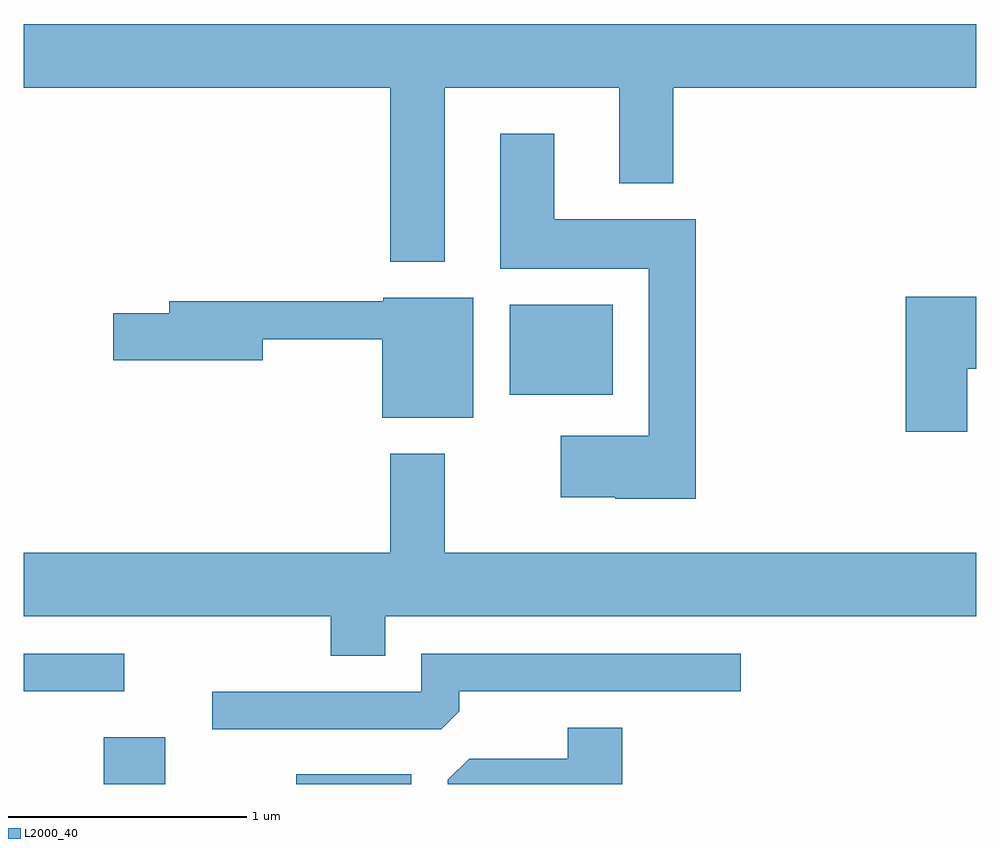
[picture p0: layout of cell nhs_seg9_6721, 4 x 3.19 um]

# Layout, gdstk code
import gdstk
lib = gdstk.Library(unit=1e-6, precision=1e-09)
def R(c, l, rs):  # rectangles x0, y0, x1, y1
    for r in rs: c.add(gdstk.rectangle(r[:2], r[2:], *l))
def P(c, l, *ps):  # polygons
    for p in ps: c.add(gdstk.Polygon(p, *l))
L2000_40 = (2000, 40)

nhs_seg9_6721 = lib.new_cell('nhs_seg9_6721')
R(nhs_seg9_6721, L2000_40, [(383.946,2004.432,384.204,2004.629), (384.756,2004.432,385.239,2004.474), (383.611,2004.821,384.033,2004.979), (385.651,2006.066,386.084,2006.444)])
P(nhs_seg9_6721, L2000_40, [(385.379,2007.356),(386.111,2007.356),(386.111,2006.956),(386.339,2006.956),(386.339,2007.356),(387.611,2007.356),(387.611,2007.624),(383.611,2007.624),(383.611,2007.356),(385.151,2007.356),(385.151,2006.626),(385.379,2006.626)],
  [(386.434,2006.804),(385.839,2006.804),(385.839,2007.164),(385.611,2007.164),(385.611,2006.596),(386.236,2006.596),(386.236,2005.894),(385.866,2005.894),(385.866,2005.636),(386.095,2005.636),(386.095,2005.631),(386.434,2005.631)],
  [(387.574,2006.176),(387.611,2006.176),(387.611,2006.479),(387.316,2006.479),(387.316,2005.911),(387.574,2005.911)],
  [(385.499,2006.474),(385.12,2006.474),(385.12,2006.459),(384.221,2006.459),(384.221,2006.409),(383.986,2006.409),(383.986,2006.211),(384.614,2006.211),(384.614,2006.301),(385.116,2006.301),(385.116,2005.971),(385.499,2005.971)],
  [(385.129,2005.136),(387.611,2005.136),(387.611,2005.404),(385.379,2005.404),(385.379,2005.819),(385.151,2005.819),(385.151,2005.404),(383.611,2005.404),(383.611,2005.136),(384.901,2005.136),(384.901,2004.971),(385.129,2004.971)],
  [(385.439,2004.737),(385.439,2004.821),(386.623,2004.821),(386.623,2004.979),(385.281,2004.979),(385.281,2004.819),(384.403,2004.819),(384.403,2004.661),(385.364,2004.661)],
  [(386.124,2004.669),(385.896,2004.669),(385.896,2004.539),(385.482,2004.539),(385.391,2004.449),(385.391,2004.432),(386.124,2004.432)])

lib.write_gds('nhs_seg9_6721.gds')
